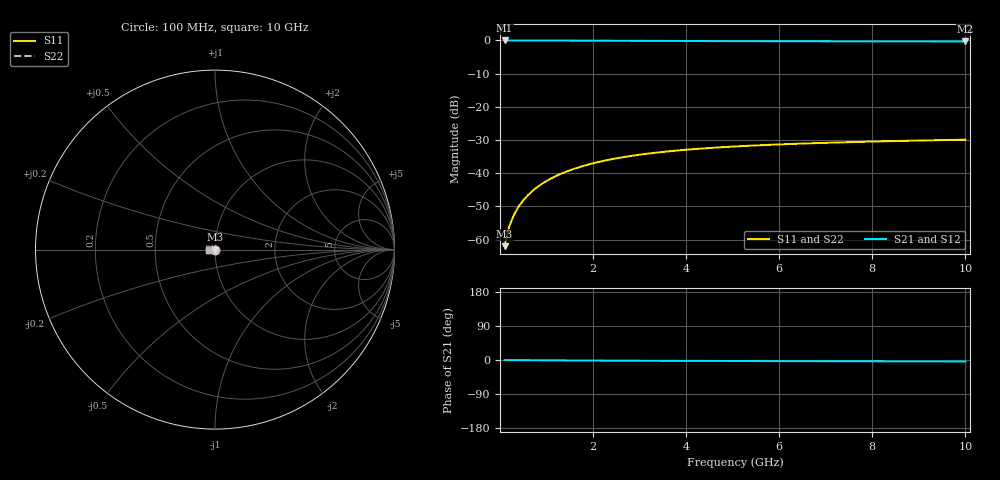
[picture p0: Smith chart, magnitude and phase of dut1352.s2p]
! Touchstone file exported from HFSS 2024.1.0
!  File:  C:/UserFiles/LocalFiles/RDL_TSV_Batchsim/temp_TSV1_1352_1780377423.aedt
!  Generated:  01:23:56 PM Jun  2, 2026
!  Design:  TSV1
!  Project:  temp_TSV1_1352_1780377423
!  Setup:  Setup1
!  Solution:  Sweep
! Variables:
!  dtsv = 8.1um
!  hbump = 3um
!  htsv = 58.24um
!  lrdl = 252.1521522um
!  p = 40
!  p1 = 40.28um
!  t = 500um
!  trdl = 3um
!  wrdl = 24.89489489um
# GHz S MA R 50.000000
! Terminal data exported
! Port[1] = TSV22_T1
! Port[2] = TSV22_T2
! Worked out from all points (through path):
!   100 points, 100 MHz to 10 GHz, reference 50 ohm
!   highest |S21| = 0.00 dB at 100 MHz (marker M1); lowest = -0.3 dB at 10 GHz (marker M2)
!   lowest |S11| = -62.0 dB at 100 MHz (marker M3), VSWR 1.00, Z = 50 - j0.0777 ohm
!   |S11| at or under -10 dB: start of sweep to end of sweep
!   |S22| runs from -62.0 to -29.9 dB; largest |S21 - S12| = 2.2e-15
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0.1  0.0007939 -78.1  0.9998 -0.1  0.9998 -0.1  0.0007939 -78.1
! Gamma 0 0 0 0
! Port Impedance 50 0 50 0
0.2  0.001571 -86.2  0.9997 -0.2  0.9997 -0.2  0.001571 -86.2
0.3  0.002351 -90.1  0.9996 -0.3  0.9996 -0.3  0.002351 -90.1
0.4  0.003126 -92.9  0.9994 -0.3  0.9994 -0.3  0.003126 -92.9
0.5  0.003897 -95.2  0.9992 -0.4  0.9992 -0.4  0.003897 -95.2
0.6  0.00466 -97.3  0.999 -0.5  0.999 -0.5  0.00466 -97.3
0.7  0.005415 -99.2  0.9987 -0.6  0.9987 -0.6  0.005415 -99.2
0.8  0.006161 -101.0  0.9984 -0.7  0.9984 -0.7  0.006161 -101.0
0.9  0.006896 -102.8  0.998 -0.7  0.998 -0.7  0.006896 -102.8
1.1  0.008332 -106.1  0.9972 -0.9  0.9972 -0.9  0.008332 -106.1
1.4  0.01038 -110.9  0.9958 -1.1  0.9958 -1.1  0.01038 -110.9
1.6  0.01168 -113.9  0.9948 -1.2  0.9948 -1.2  0.01168 -113.9
1.8  0.01291 -116.8  0.9937 -1.3  0.9937 -1.3  0.01291 -116.8
2.1  0.01463 -120.9  0.9919 -1.5  0.9919 -1.5  0.01463 -120.9
2.5  0.01671 -126.0  0.9896 -1.7  0.9896 -1.7  0.01671 -126.0
2.9  0.01855 -130.7  0.9873 -1.9  0.9873 -1.9  0.01855 -130.7
3.4  0.02053 -136.1  0.9845 -2.1  0.9845 -2.1  0.02053 -136.1
4.2  0.02312 -143.6  0.9806 -2.4  0.9806 -2.4  0.02312 -143.6
5.1  0.02536 -150.8  0.977 -2.6  0.977 -2.6  0.02536 -150.8
6.7  0.02823 -161.3  0.9722 -3.0  0.9722 -3.0  0.02823 -161.3
8.4  0.03038 -170.1  0.9687 -3.4  0.9687 -3.4  0.03038 -170.1
10  0.03195 -177.0  0.9664 -3.8  0.9664 -3.8  0.03195 -177.0
